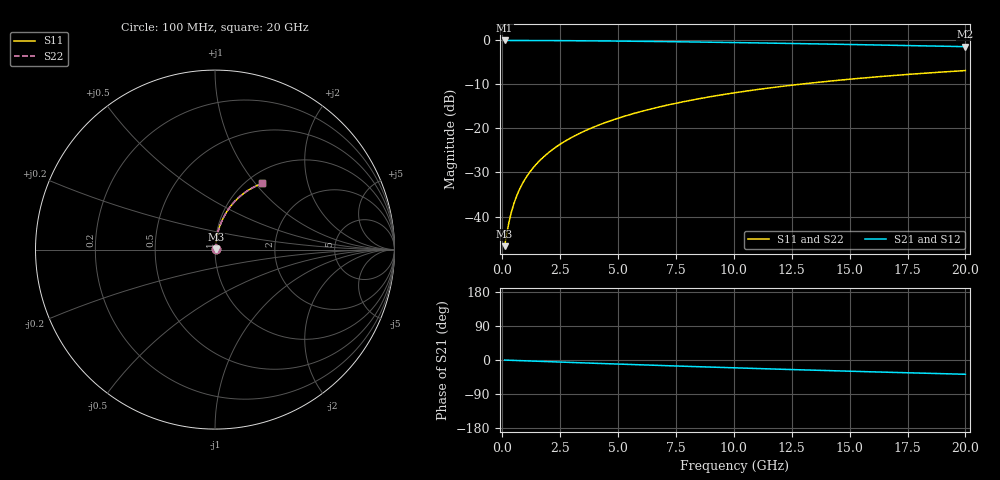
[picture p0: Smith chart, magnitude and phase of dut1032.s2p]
! Touchstone file exported from HFSS 2024.1.0
!  File:  C:/UserFiles/LocalFiles/RDL_TSV_Batchsim/temp_RDL_top_1032_1780043702.aedt
!  Generated:  04:37:30 PM May 29, 2026
!  Design:  RDL_top
!  Project:  temp_RDL_top_1032_1780043702
!  Setup:  Setup1
!  Solution:  Sweep
! Variables:
!  dtsv = 10.80580581um
!  hbump = 3um
!  htsv = 61.13um
!  ldown = 100um
!  lrdl = 462.03um
!  p = 40
!  p1 = 50.25um
!  rhole = 1um
!  t = 450um
!  tdown = 3.915915916um
!  trdl = 4.39um
!  wdown = 15.38538539um
!  wrdl = 10.1um
# GHz S MA R 50.000000
! Terminal data exported
! Port[1] = Box2_T1
! Port[2] = Box2_T2
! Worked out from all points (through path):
!   200 points, 100 MHz to 20 GHz, reference 50 ohm
!   highest |S21| = -0.03 dB at 100 MHz (marker M1); lowest = -1.4 dB at 20 GHz (marker M2)
!   group delay of S21, straight-line fit = 5.23 ps
!   lowest |S11| = -46.7 dB at 100 MHz (marker M3), VSWR 1.01, Z = 50.4 + j0.272 ohm
!   |S11| at or under -10 dB: start of sweep to 12.81 GHz
!   |S22| runs from -46.7 to -6.9 dB; largest |S21 - S12| = 3.2e-15
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0.1  0.004609 35.9  0.9963 -0.2  0.9963 -0.2  0.004609 35.9
! Gamma 0 0 0 0
! Port Impedance 50 0 50 0
0.2  0.006576 55.2  0.9962 -0.4  0.9962 -0.4  0.00658 55.2
0.3  0.008931 64.8  0.9961 -0.7  0.9961 -0.7  0.00894 64.8
0.4  0.01143 70.2  0.996 -0.9  0.996 -0.9  0.01144 70.2
0.5  0.01399 73.6  0.9959 -1.1  0.9959 -1.1  0.01401 73.5
0.6  0.01658 75.8  0.9958 -1.3  0.9958 -1.3  0.0166 75.8
0.8  0.0218 78.4  0.9955 -1.8  0.9955 -1.8  0.02182 78.4
1.1  0.02966 80.4  0.9951 -2.4  0.9951 -2.4  0.02968 80.3
1.5  0.04012 81.4  0.9943 -3.3  0.9943 -3.3  0.04014 81.4
1.8  0.04795 81.7  0.9937 -3.9  0.9937 -3.9  0.04796 81.7
2.1  0.05577 81.7  0.9929 -4.6  0.9929 -4.6  0.05577 81.7
2.7  0.07136 81.5  0.991 -5.9  0.991 -5.9  0.07136 81.5
3.5  0.09206 80.7  0.9879 -7.6  0.9879 -7.6  0.09207 80.7
4.2  0.1101 79.8  0.9846 -9.1  0.9846 -9.1  0.1101 79.8
5  0.1305 78.7  0.9802 -10.8  0.9802 -10.8  0.1305 78.7
5.9  0.1533 77.3  0.9747 -12.6  0.9747 -12.6  0.1533 77.3
6.8  0.1758 75.8  0.9687 -14.4  0.9687 -14.4  0.1759 75.8
8.3  0.2126 73.3  0.9575 -17.4  0.9575 -17.4  0.2126 73.3
10.1  0.2553 70.3  0.9427 -20.8  0.9427 -20.8  0.2554 70.3
13.4  0.3288 64.7  0.9126 -26.8  0.9126 -26.8  0.3289 64.7
16.7  0.395 59.4  0.8803 -32.4  0.8803 -32.4  0.3951 59.4
20  0.4535 54.3  0.8472 -37.7  0.8472 -37.7  0.4537 54.3
